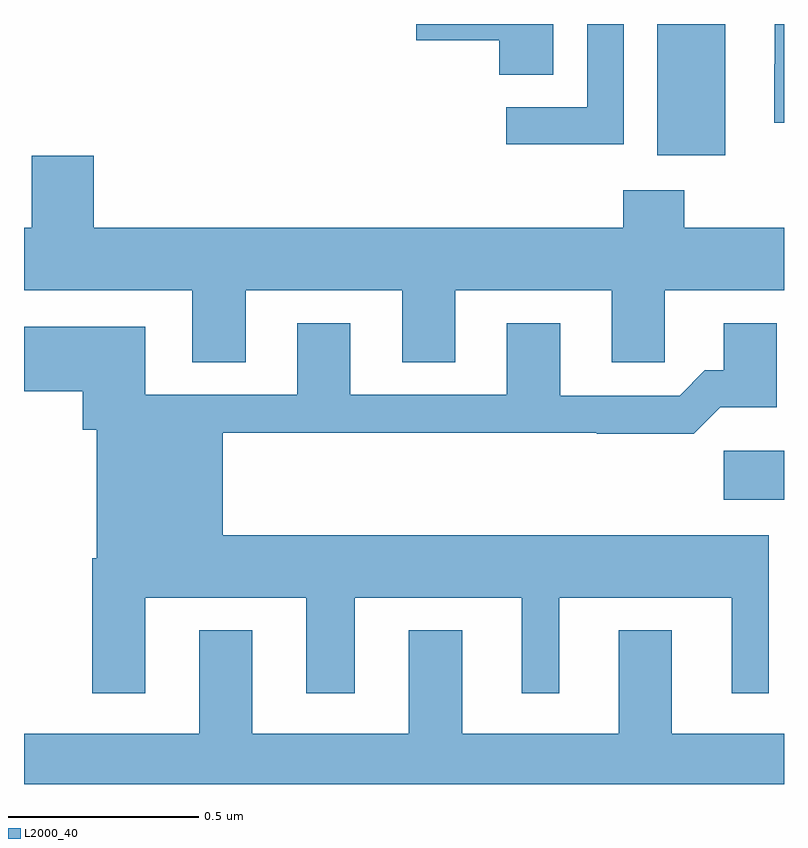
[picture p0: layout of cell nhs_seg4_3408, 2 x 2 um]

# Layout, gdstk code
import gdstk
lib = gdstk.Library(unit=1e-6, precision=1e-09)
def R(c, l, rs):  # rectangles x0, y0, x1, y1
    for r in rs: c.add(gdstk.rectangle(r[:2], r[2:], *l))
def P(c, l, *ps):  # polygons
    for p in ps: c.add(gdstk.Polygon(p, *l))
L2000_40 = (2000, 40)

nhs_seg4_3408 = lib.new_cell('nhs_seg4_3408')
R(nhs_seg4_3408, L2000_40, [(154.842,749.648,155,749.777), (154.667,750.554,154.846,750.9)])
P(nhs_seg4_3408, L2000_40, [(154.393,750.9),(154.032,750.9),(154.032,750.857),(154.25,750.857),(154.25,750.766),(154.393,750.766)],
  [(155,750.9),(154.976,750.9),(154.976,750.794),(154.974,750.794),(154.974,750.64),(155,750.64)],
  [(154.578,750.9),(154.482,750.9),(154.482,750.681),(154.269,750.681),(154.269,750.583),(154.578,750.583)],
  [(153.583,750.2),(153.995,750.2),(153.995,750.01),(154.135,750.01),(154.135,750.2),(154.547,750.2),(154.547,750.01),(154.686,750.01),(154.686,750.2),(155,750.2),(155,750.364),(154.737,750.364),(154.737,750.463),(154.577,750.463),(154.577,750.364),(153.184,750.364),(153.184,750.553),(153.02,750.553),(153.02,750.364),(153,750.364),(153,750.2),(153.443,750.2),(153.443,750.01),(153.583,750.01)],
  [(153.319,749.39),(153.743,749.39),(153.743,749.139),(153.871,749.139),(153.871,749.39),(154.31,749.39),(154.31,749.139),(154.408,749.139),(154.408,749.39),(154.862,749.39),(154.862,749.139),(154.96,749.139),(154.96,749.554),(153.523,749.554),(153.523,749.824),(154.507,749.824),(154.507,749.822),(154.763,749.822),(154.832,749.891),(154.981,749.891),(154.981,750.112),(154.841,750.112),(154.841,749.989),(154.792,749.989),(154.725,749.922),(154.411,749.922),(154.411,750.112),(154.271,750.112),(154.271,749.925),(153.859,749.925),(153.859,750.112),(153.719,750.112),(153.719,749.925),(153.319,749.925),(153.319,750.103),(153,750.103),(153,749.933),(153.155,749.933),(153.155,749.832),(153.191,749.832),(153.191,749.494),(153.179,749.494),(153.179,749.139),(153.319,749.139)],
  [(155,749.032),(154.705,749.032),(154.705,749.305),(154.565,749.305),(154.565,749.032),(154.153,749.032),(154.153,749.305),(154.013,749.305),(154.013,749.032),(153.601,749.032),(153.601,749.305),(153.461,749.305),(153.461,749.032),(153,749.032),(153,748.9),(155,748.9)])

lib.write_gds('nhs_seg4_3408.gds')
